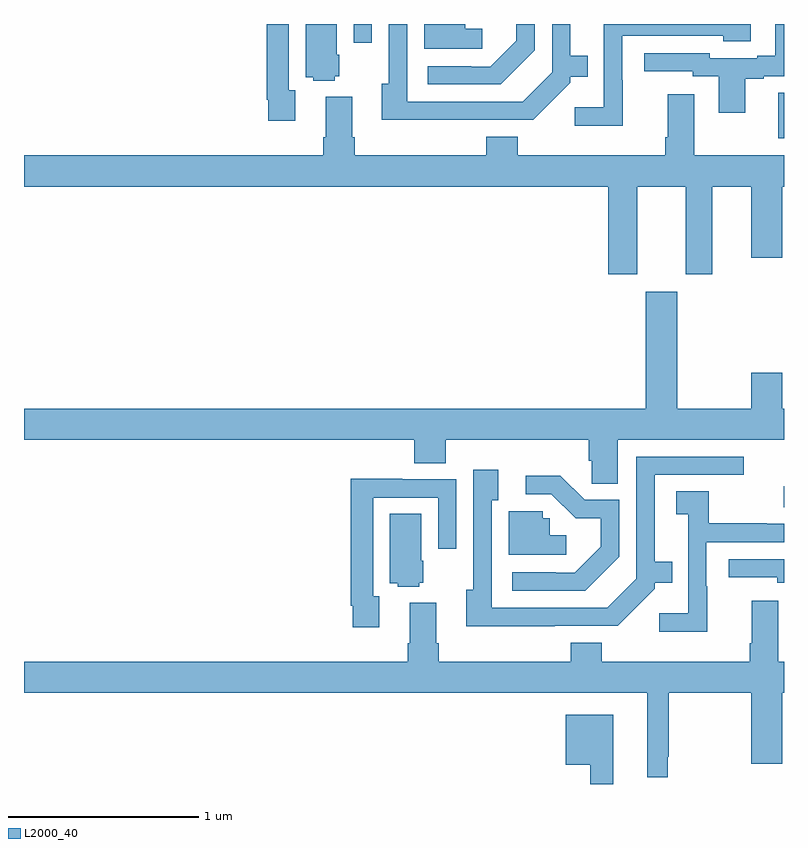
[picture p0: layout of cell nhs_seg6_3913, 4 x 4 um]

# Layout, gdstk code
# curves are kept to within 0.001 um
import gdstk
lib = gdstk.Library(unit=1e-6, precision=1e-09)
def R(c, l, rs):  # rectangles x0, y0, x1, y1
    for r in rs: c.add(gdstk.rectangle(r[:2], r[2:], *l))
def P(c, l, *ps):  # polygons
    for p in ps: c.add(gdstk.Polygon(p, *l))
L2000_40 = (2000, 40)

nhs_seg6_3913 = lib.new_cell('nhs_seg6_3913')
R(nhs_seg6_3913, L2000_40, [(344.998,970.956,345,971.068), (344.969,972.9,345,973.139), (342.735,973.401,342.831,973.5)])
P(nhs_seg6_3913, L2000_40, [(343.689,973.361),(343.689,973.5),(343.592,973.5),(343.592,973.412),(343.455,973.275),(343.355,973.275),(343.355,973.278),(343.125,973.278),(343.125,973.182),(343.51,973.182)],
  [(343.411,973.474),(343.323,973.474),(343.323,973.5),(343.106,973.5),(343.106,973.371),(343.411,973.371)],
  [(344.797,973.212),(344.893,973.212),(344.893,973.224),(345,973.224),(345,973.5),(344.954,973.5),(344.954,973.333),(344.858,973.333),(344.858,973.32),(344.61,973.32),(344.61,973.347),(344.265,973.347),(344.265,973.251),(344.52,973.251),(344.52,973.224),(344.657,973.224),(344.657,973.032),(344.797,973.032)],
  [(342.636,973.224),(342.658,973.224),(342.658,973.338),(342.646,973.338),(342.646,973.5),(342.482,973.5),(342.482,973.22),(342.522,973.22),(342.522,973.202),(342.636,973.202)],
  [(344.151,973.205),(344.148,973.205),(344.148,973.437),(344.679,973.437),(344.679,973.409),(344.824,973.409),(344.824,973.5),(344.052,973.5),(344.052,973.063),(343.899,973.063),(343.899,972.965),(344.151,972.965)],
  [(343.349,972.996),(343.68,972.996),(343.875,973.191),(343.875,973.223),(343.967,973.223),(343.967,973.333),(343.876,973.333),(343.876,973.5),(343.779,973.5),(343.779,973.245),(343.626,973.092),(343.017,973.092),(343.017,973.5),(342.921,973.5),(342.921,973.186),(342.884,973.186),(342.884,972.995)],
  [(342.427,973.151),(342.393,973.151),(342.393,973.5),(342.277,973.5),(342.277,973.102),(342.285,973.102),(342.285,972.99),(342.427,972.99)],
  [(344.227,972.644),(344.483,972.644),(344.483,972.183),(344.623,972.183),(344.623,972.644),(344.828,972.644),(344.828,972.27),(344.992,972.27),(344.992,972.644),(345,972.644),(345,972.808),(344.527,972.808),(344.527,973.129),(344.387,973.129),(344.387,972.904),(344.375,972.904),(344.375,972.808),(343.598,972.808),(343.598,972.907),(343.433,972.907),(343.433,972.808),(342.74,972.808),(342.74,972.904),(342.727,972.904),(342.727,973.117),(342.587,973.117),(342.587,972.904),(342.575,972.904),(342.575,972.808),(341,972.808),(341,972.644),(344.075,972.644),(344.075,972.183),(344.227,972.183)],
  [(344.125,971.312),(345,971.312),(345,971.476),(344.992,971.476),(344.992,971.665),(344.828,971.665),(344.828,971.476),(344.437,971.476),(344.437,972.091),(344.273,972.091),(344.273,971.476),(341,971.476),(341,971.312),(343.055,971.312),(343.055,971.188),(343.22,971.188),(343.22,971.312),(343.973,971.312),(343.973,971.202),(343.987,971.202),(343.987,971.08),(344.125,971.08)],
  [(343.793,970.332),(344.124,970.332),(344.319,970.527),(344.319,970.559),(344.411,970.559),(344.411,970.669),(344.32,970.669),(344.32,971.127),(344.788,971.127),(344.788,971.223),(344.223,971.223),(344.223,970.581),(344.07,970.428),(343.461,970.428),(343.461,970.994),(343.495,970.994),(343.495,971.155),(343.365,971.155),(343.365,970.522),(343.328,970.522),(343.328,970.331)],
  [(344.133,970.697),(344.133,970.995),(343.95,970.995),(343.822,971.123),(343.641,971.123),(343.641,971.025),(343.776,971.025),(343.903,970.898),(344.036,970.898),(344.036,970.748),(343.899,970.611),(343.799,970.611),(343.799,970.614),(343.569,970.614),(343.569,970.518),(343.954,970.518)],
  [(342.871,970.487),(342.837,970.487),(342.837,971.007),(343.179,971.007),(343.179,970.737),(343.275,970.737),(343.275,971.103),(342.991,971.103),(342.991,971.107),(342.721,971.107),(342.721,970.438),(342.729,970.438),(342.729,970.326),(342.871,970.326)],
  [(344.595,970.541),(344.592,970.541),(344.592,970.773),(345,970.773),(345,970.869),(344.909,970.869),(344.909,970.872),(344.605,970.872),(344.605,971.042),(344.433,971.042),(344.433,970.921),(344.496,970.921),(344.496,970.399),(344.343,970.399),(344.343,970.301),(344.595,970.301)],
  [(343.855,970.81),(343.767,970.81),(343.767,970.899),(343.731,970.899),(343.731,970.935),(343.55,970.935),(343.55,970.707),(343.855,970.707)],
  [(343.08,970.56),(343.102,970.56),(343.102,970.674),(343.09,970.674),(343.09,970.922),(342.926,970.922),(342.926,970.556),(342.966,970.556),(342.966,970.538),(343.08,970.538)],
  [(345,970.683),(344.709,970.683),(344.709,970.587),(344.964,970.587),(344.964,970.56),(345,970.56)],
  [(344.389,969.643),(344.393,969.643),(344.393,969.98),(344.828,969.98),(344.828,969.606),(344.992,969.606),(344.992,969.98),(345,969.98),(345,970.144),(344.971,970.144),(344.971,970.465),(344.831,970.465),(344.831,970.24),(344.819,970.24),(344.819,970.144),(344.042,970.144),(344.042,970.243),(343.877,970.243),(343.877,970.144),(343.184,970.144),(343.184,970.24),(343.171,970.24),(343.171,970.453),(343.031,970.453),(343.031,970.24),(343.019,970.24),(343.019,970.144),(341,970.144),(341,969.98),(344.279,969.98),(344.279,969.536),(344.389,969.536)],
  [(344.101,969.865),(343.85,969.865),(343.85,969.602),(343.98,969.602),(343.98,969.5),(344.101,969.5)])

lib.write_gds('nhs_seg6_3913.gds')
